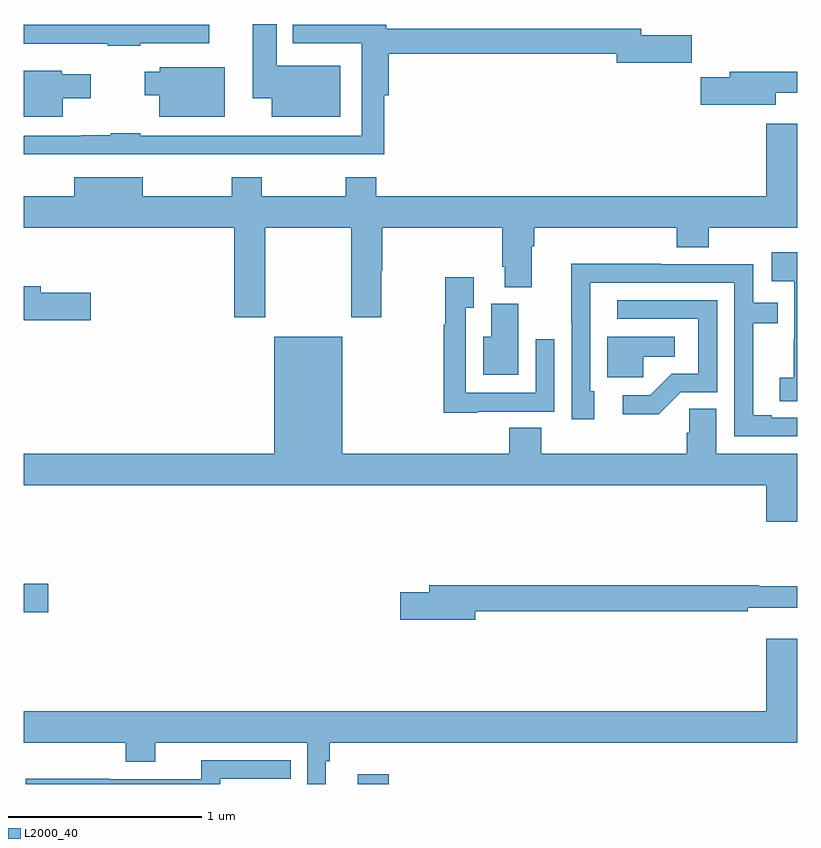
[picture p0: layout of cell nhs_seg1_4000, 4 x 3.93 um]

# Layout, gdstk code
import gdstk
lib = gdstk.Library(unit=1e-6, precision=1e-09)
def R(c, l, rs):  # rectangles x0, y0, x1, y1
    for r in rs: c.add(gdstk.rectangle(r[:2], r[2:], *l))
def P(c, l, *ps):  # polygons
    for p in ps: c.add(gdstk.Polygon(p, *l))
L2000_40 = (2000, 40)

nhs_seg1_4000 = lib.new_cell('nhs_seg1_4000')
R(nhs_seg1_4000, L2000_40, [(330.728,538.199,330.887,538.249), (329,539.087,329.125,539.234)])
P(nhs_seg1_4000, L2000_40, [(330.637,541.915),(330.307,541.915),(330.307,542.131),(330.185,542.131),(330.185,541.748),(330.281,541.748),(330.281,541.652),(330.637,541.652)],
  [(329.165,541.458),(329.71,541.458),(329.71,541.457),(329.987,541.457),(329.987,541.458),(330.319,541.458),(330.319,541.457),(330.575,541.457),(330.575,541.458),(330.863,541.458),(330.863,541.763),(330.887,541.763),(330.887,541.978),(332.066,541.978),(332.066,541.931),(332.455,541.931),(332.455,542.073),(332.194,542.073),(332.194,542.107),(330.874,542.107),(330.874,542.127),(330.392,542.127),(330.392,542.031),(330.747,542.031),(330.747,541.554),(329.603,541.554),(329.603,541.567),(329.45,541.567),(329.45,541.556),(329.296,541.556),(329.296,541.554),(329,541.554),(329,541.457),(329.165,541.457)],
  [(329.603,542.031),(329.959,542.031),(329.959,542.127),(329,542.127),(329,542.03),(329.434,542.03),(329.434,542.019),(329.603,542.019)],
  [(330.04,541.906),(329.703,541.906),(329.703,541.885),(329.624,541.885),(329.624,541.763),(329.699,541.763),(329.699,541.652),(330.04,541.652)],
  [(329.2,541.748),(329.347,541.748),(329.347,541.87),(329.196,541.87),(329.196,541.888),(329,541.888),(329,541.652),(329.2,541.652)],
  [(332.89,541.775),(333,541.775),(333,541.885),(332.651,541.885),(332.651,541.856),(332.502,541.856),(332.502,541.714),(332.89,541.714)],
  [(330.249,541.076),(330.694,541.076),(330.694,540.615),(330.849,540.615),(330.849,540.854),(330.854,540.854),(330.854,541.076),(331.475,541.076),(331.475,540.874),(331.487,540.874),(331.487,540.769),(331.627,540.769),(331.627,540.98),(331.64,540.98),(331.64,541.076),(332.378,541.076),(332.378,540.977),(332.543,540.977),(332.543,541.076),(333,541.076),(333,541.615),(332.84,541.615),(332.84,541.24),(330.824,541.24),(330.824,541.339),(330.664,541.339),(330.664,541.24),(330.231,541.24),(330.231,541.339),(330.076,541.339),(330.076,541.24),(329.614,541.24),(329.614,541.339),(329.261,541.339),(329.261,541.24),(329,541.24),(329,541.076),(330.089,541.076),(330.089,540.615),(330.249,540.615)],
  [(333,540.949),(332.868,540.949),(332.868,540.801),(332.985,540.801),(332.985,540.497),(332.984,540.497),(332.984,540.3),(332.91,540.3),(332.91,540.178),(333,540.178)],
  [(333,540.093),(332.869,540.093),(332.869,540.108),(332.773,540.108),(332.773,540.582),(332.9,540.582),(332.9,540.69),(332.772,540.69),(332.772,540.888),(332.294,540.888),(332.294,540.89),(331.832,540.89),(331.832,540.586),(331.833,540.586),(331.833,540.087),(331.951,540.087),(331.951,540.231),(331.929,540.231),(331.929,540.792),(332.676,540.792),(332.676,539.997),(333,539.997)],
  [(331.347,540.126),(331.743,540.126),(331.743,540.499),(331.647,540.499),(331.647,540.222),(331.287,540.222),(331.287,540.664),(331.327,540.664),(331.327,540.82),(331.179,540.82),(331.179,540.575),(331.171,540.575),(331.171,540.119),(331.347,540.119)],
  [(329.347,540.741),(329.086,540.741),(329.086,540.775),(329,540.775),(329,540.599),(329.347,540.599)],
  [(332.397,540.225),(332.586,540.225),(332.586,540.702),(332.07,540.702),(332.07,540.606),(332.49,540.606),(332.49,540.321),(332.352,540.321),(332.241,540.21),(332.097,540.21),(332.097,540.113),(332.284,540.113)],
  [(331.558,540.684),(331.418,540.684),(331.418,540.514),(331.376,540.514),(331.376,540.317),(331.558,540.317)],
  [(333,539.908),(332.581,539.908),(332.581,540.14),(332.442,540.14),(332.442,540.017),(332.429,540.017),(332.429,539.908),(331.676,539.908),(331.676,540.041),(331.511,540.041),(331.511,539.908),(330.646,539.908),(330.646,540.514),(330.296,540.514),(330.296,539.908),(329,539.908),(329,539.744),(332.84,539.744),(332.84,539.556),(333,539.556)],
  [(332.205,540.41),(332.368,540.41),(332.368,540.514),(332.018,540.514),(332.018,540.303),(332.205,540.303)],
  [(331.336,539.092),(332.744,539.092),(332.744,539.111),(333,539.111),(333,539.221),(332.801,539.221),(332.801,539.228),(331.097,539.228),(331.097,539.192),(330.948,539.192),(330.948,539.05),(331.336,539.05)],
  [(330.562,538.316),(330.581,538.316),(330.581,538.412),(333,538.412),(333,538.951),(332.84,538.951),(332.84,538.576),(329,538.576),(329,538.412),(329.528,538.412),(329.528,538.313),(329.68,538.313),(329.68,538.412),(330.465,538.412),(330.465,538.199),(330.562,538.199)],
  [(330.016,538.227),(330.38,538.227),(330.38,538.323),(329.917,538.323),(329.917,538.224),(329.444,538.224),(329.444,538.226),(329.01,538.226),(329.01,538.199),(330.016,538.199)])

lib.write_gds('nhs_seg1_4000.gds')
